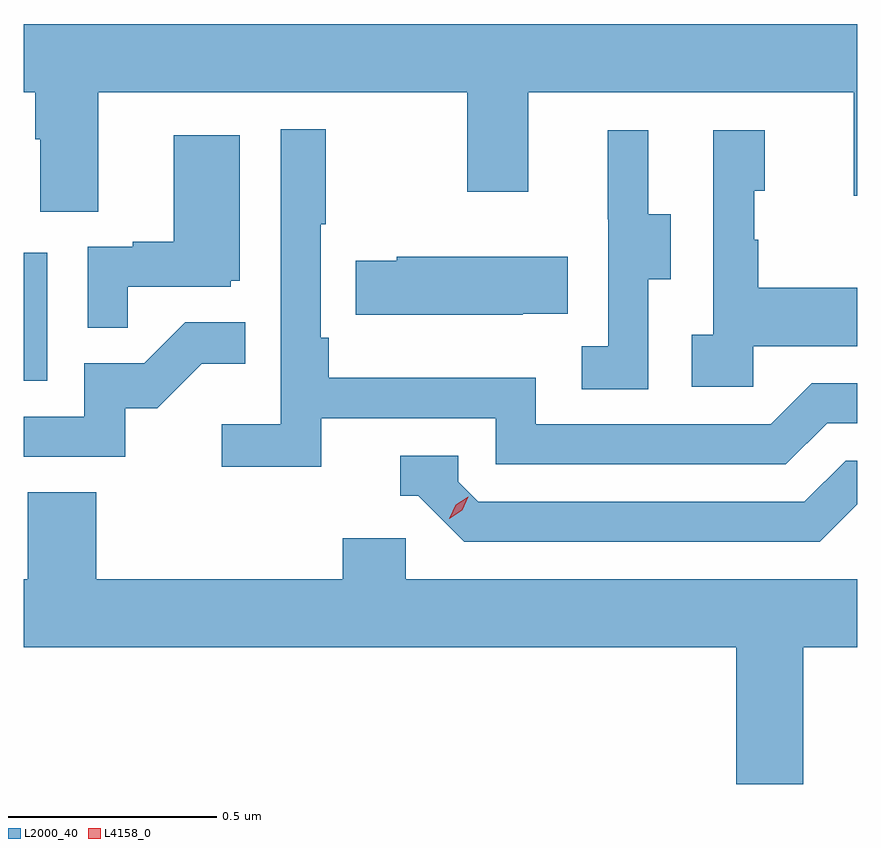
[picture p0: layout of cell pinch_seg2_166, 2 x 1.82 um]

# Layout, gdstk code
import gdstk
lib = gdstk.Library(unit=1e-6, precision=1e-09)
def R(c, l, rs):  # rectangles x0, y0, x1, y1
    for r in rs: c.add(gdstk.rectangle(r[:2], r[2:], *l))
def P(c, l, *ps):  # polygons
    for p in ps: c.add(gdstk.Polygon(p, *l))
L2000_40 = (2000, 40)
L4158_0 = (4158, 0)

pinch_seg2_166 = lib.new_cell('pinch_seg2_166')
R(pinch_seg2_166, L2000_40, [(1129.796,629.628,1129.852,629.935)])
P(pinch_seg2_166, L2000_40, [(1129.975,630.32),(1130.86,630.32),(1130.86,630.081),(1131.007,630.081),(1131.007,630.32),(1131.788,630.32),(1131.788,630.072),(1131.796,630.072),(1131.796,630.484),(1129.796,630.484),(1129.796,630.32),(1129.823,630.32),(1129.823,630.208),(1129.835,630.208),(1129.835,630.034),(1129.975,630.034)],
  [(1130.51,629.538),(1130.928,629.538),(1130.928,629.427),(1131.625,629.427),(1131.724,629.526),(1131.796,629.526),(1131.796,629.622),(1131.687,629.622),(1131.588,629.523),(1131.024,629.523),(1131.024,629.635),(1130.528,629.635),(1130.528,629.731),(1130.508,629.731),(1130.508,630.004),(1130.521,630.004),(1130.521,630.232),(1130.412,630.232),(1130.412,629.524),(1130.271,629.524),(1130.271,629.422),(1130.51,629.422)],
  [(1131.294,629.872),(1131.349,629.872),(1131.349,630.027),(1131.295,630.027),(1131.295,630.229),(1131.197,630.229),(1131.197,630.015),(1131.198,630.015),(1131.198,629.711),(1131.135,629.711),(1131.135,629.608),(1131.294,629.608)],
  [(1131.546,629.711),(1131.796,629.711),(1131.796,629.851),(1131.559,629.851),(1131.559,629.966),(1131.549,629.966),(1131.549,630.084),(1131.574,630.084),(1131.574,630.229),(1131.45,630.229),(1131.45,629.738),(1131.399,629.738),(1131.399,629.613),(1131.546,629.613)],
  [(1130.045,629.853),(1130.292,629.853),(1130.292,629.868),(1130.314,629.868),(1130.314,630.217),(1130.156,630.217),(1130.156,629.962),(1130.057,629.962),(1130.057,629.949),(1129.95,629.949),(1129.95,629.755),(1130.045,629.755)],
  [(1130.993,629.789),(1131.101,629.789),(1131.101,629.926),(1130.691,629.926),(1130.691,629.916),(1130.593,629.916),(1130.593,629.786),(1130.993,629.786)],
  [(1130.04,629.562),(1130.116,629.562),(1130.223,629.669),(1130.327,629.669),(1130.327,629.768),(1130.183,629.768),(1130.085,629.67),(1129.941,629.67),(1129.941,629.541),(1129.796,629.541),(1129.796,629.445),(1130.04,629.445)],
  [(1131.796,629.331),(1131.796,629.436),(1131.768,629.436),(1131.669,629.337),(1130.886,629.337),(1130.838,629.385),(1130.838,629.448),(1130.699,629.448),(1130.699,629.352),(1130.742,629.352),(1130.853,629.241),(1131.706,629.241)],
  [(1131.666,628.988),(1131.796,628.988),(1131.796,629.152),(1130.712,629.152),(1130.712,629.25),(1130.561,629.25),(1130.561,629.152),(1129.97,629.152),(1129.97,629.36),(1129.805,629.36),(1129.805,629.152),(1129.796,629.152),(1129.796,628.988),(1131.506,628.988),(1131.506,628.66),(1131.666,628.66)])
P(pinch_seg2_166, L4158_0, [(1130.817,629.297),(1130.817,629.297),(1130.833,629.33),(1130.863,629.35),(1130.863,629.35),(1130.863,629.35),(1130.848,629.317),(1130.817,629.297)])

lib.write_gds('pinch_seg2_166.gds')
